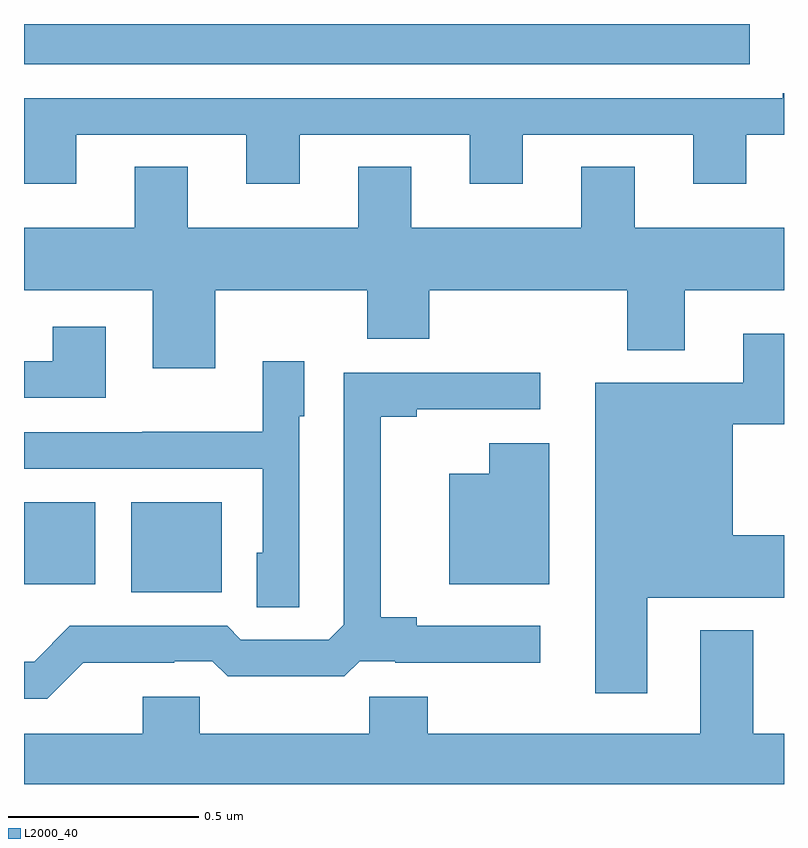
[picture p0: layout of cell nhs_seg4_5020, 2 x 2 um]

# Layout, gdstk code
import gdstk
lib = gdstk.Library(unit=1e-6, precision=1e-09)
def R(c, l, rs):  # rectangles x0, y0, x1, y1
    for r in rs: c.add(gdstk.rectangle(r[:2], r[2:], *l))
def P(c, l, *ps):  # polygons
    for p in ps: c.add(gdstk.Polygon(p, *l))
L2000_40 = (2000, 40)

nhs_seg4_5020 = lib.new_cell('nhs_seg4_5020')
R(nhs_seg4_5020, L2000_40, [(173.282,749.405,173.521,749.641), (173,749.426,173.188,749.641), (173,750.794,174.91,750.9)])
P(nhs_seg4_5020, L2000_40, [(173.137,750.609),(173.585,750.609),(173.585,750.48),(173.725,750.48),(173.725,750.609),(174.173,750.609),(174.173,750.48),(174.313,750.48),(174.313,750.609),(174.761,750.609),(174.761,750.48),(174.901,750.48),(174.901,750.609),(175,750.609),(175,750.718),(174.997,750.718),(174.997,750.705),(173,750.705),(173,750.48),(173.137,750.48)],
  [(173.503,750.2),(173.903,750.2),(173.903,750.072),(174.067,750.072),(174.067,750.2),(174.587,750.2),(174.587,750.041),(174.739,750.041),(174.739,750.2),(175,750.2),(175,750.364),(174.607,750.364),(174.607,750.524),(174.467,750.524),(174.467,750.364),(174.019,750.364),(174.019,750.524),(173.879,750.524),(173.879,750.364),(173.431,750.364),(173.431,750.524),(173.291,750.524),(173.291,750.364),(173,750.364),(173,750.2),(173.339,750.2),(173.339,749.994),(173.503,749.994)],
  [(173.215,750.103),(173.075,750.103),(173.075,750.012),(173,750.012),(173,749.916),(173.215,749.916)],
  [(174.64,749.39),(175,749.39),(175,749.554),(174.865,749.554),(174.865,749.847),(175,749.847),(175,750.085),(174.893,750.085),(174.893,749.956),(174.503,749.956),(174.503,749.139),(174.64,749.139)],
  [(173.724,749.868),(173.737,749.868),(173.737,750.013),(173.628,750.013),(173.628,749.827),(173.311,749.827),(173.311,749.826),(173,749.826),(173,749.73),(173.628,749.73),(173.628,749.508),(173.612,749.508),(173.612,749.365),(173.724,749.365)],
  [(173.156,749.219),(173.396,749.219),(173.396,749.223),(173.496,749.223),(173.536,749.184),(173.843,749.184),(173.883,749.223),(173.977,749.223),(173.977,749.219),(174.358,749.219),(174.358,749.316),(174.034,749.316),(174.034,749.339),(173.939,749.339),(173.939,749.866),(174.034,749.866),(174.034,749.886),(174.358,749.886),(174.358,749.982),(173.841,749.982),(173.841,749.319),(173.802,749.28),(173.571,749.28),(173.535,749.316),(173.121,749.316),(173.027,749.222),(173,749.222),(173,749.124),(173.061,749.124)],
  [(174.382,749.797),(174.224,749.797),(174.224,749.716),(174.119,749.716),(174.119,749.426),(174.382,749.426)],
  [(175,749.032),(174.919,749.032),(174.919,749.305),(174.779,749.305),(174.779,749.032),(174.063,749.032),(174.063,749.13),(173.908,749.13),(173.908,749.032),(173.463,749.032),(173.463,749.13),(173.312,749.13),(173.312,749.032),(173,749.032),(173,748.9),(175,748.9)])

lib.write_gds('nhs_seg4_5020.gds')
